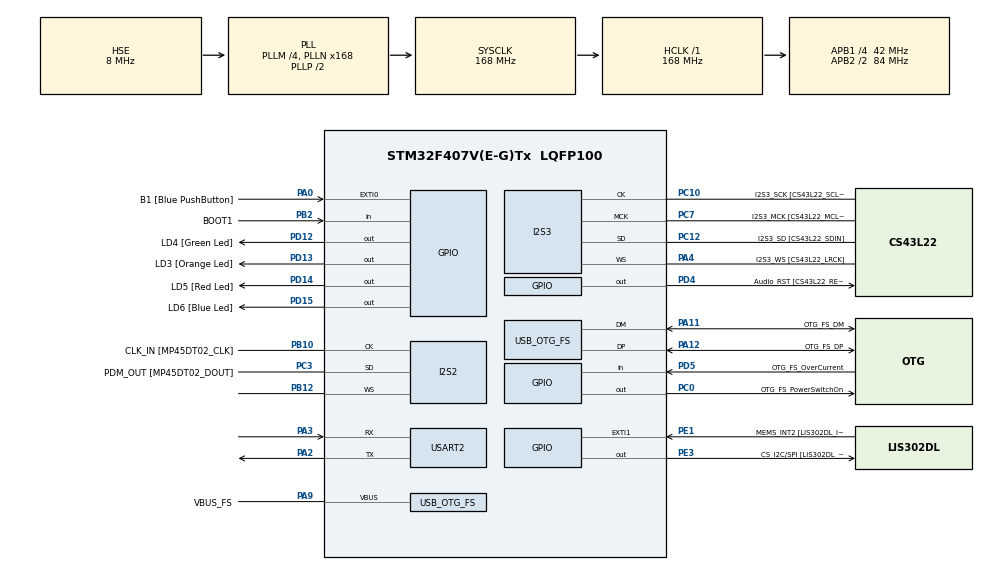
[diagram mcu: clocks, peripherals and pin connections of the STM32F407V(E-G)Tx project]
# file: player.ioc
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FREERTOS.Tasks01=defaultTask,0,128,StartDefaultTask,Default,NULL
I2S2.AudioFreq=I2S_AUDIOFREQ_44K
I2S2.ErrorAudioFreq=0.26 %
I2S2.FullDuplexMode=I2S_FULLDUPLEXMODE_DISABLE
I2S2.Instance=SPI$Index
I2S2.RealAudioFreq=44.117 KHz
I2S2.VirtualMode=I2S_MODE_MASTER
I2S3.AudioFreq=I2S_AUDIOFREQ_44K
I2S3.ErrorAudioFreq=0.26 %
I2S3.FullDuplexMode=I2S_FULLDUPLEXMODE_DISABLE
I2S3.Instance=SPI$Index
I2S3.RealAudioFreq=44.117 KHz
I2S3.VirtualMode=I2S_MODE_MASTER
Mcu.Family=STM32F4
Mcu.Name=STM32F407V(E-G)Tx
Mcu.Package=LQFP100
NVIC.OTG_FS_IRQn=true\:5\:0\:false\:false\:true\:true
NVIC.PriorityGroup=NVIC_PRIORITYGROUP_4
NVIC.TIM8_UP_TIM13_IRQn=true\:0\:0\:false\:false\:true\:false
NVIC.TimeBase=TIM8_UP_TIM13_IRQn
NVIC.TimeBaseIP=TIM13
PA0-WKUP.GPIO_Label=B1 [Blue PushButton]
PA0-WKUP.GPIO_ModeDefaultEXTI=GPIO_MODE_EVT_RISING
PA0-WKUP.GPIO_PuPd=GPIO_NOPULL
PA0-WKUP.Signal=GPXTI0
PA10.GPIO_Label=OTG_FS_ID
PA10.GPIO_Mode=GPIO_MODE_AF_PP
PA10.GPIO_PuPd=GPIO_NOPULL
PA10.GPIO_Speed=GPIO_SPEED_FREQ_LOW
PA10.Signal=USB_OTG_FS_ID
PA11.GPIO_Label=OTG_FS_DM
PA11.GPIO_Mode=GPIO_MODE_AF_PP
PA11.GPIO_PuPd=GPIO_NOPULL
PA11.GPIO_Speed=GPIO_SPEED_FREQ_LOW
PA11.Mode=Host_Only
PA11.Signal=USB_OTG_FS_DM
PA12.GPIO_Label=OTG_FS_DP
PA12.GPIO_Mode=GPIO_MODE_AF_PP
PA12.GPIO_PuPd=GPIO_NOPULL
PA12.GPIO_Speed=GPIO_SPEED_FREQ_LOW
PA12.Mode=Host_Only
PA12.Signal=USB_OTG_FS_DP
PA13.GPIO_Label=SWDIO
PA13.Signal=SYS_JTMS-SWDIO
PA14.GPIO_Label=SWCLK
PA14.Signal=SYS_JTCK-SWCLK
PA2.Mode=Asynchronous
PA2.Signal=USART2_TX
PA3.Mode=Asynchronous
PA3.Signal=USART2_RX
PA4.GPIO_Label=I2S3_WS [CS43L22_LRCK]
PA4.GPIO_Mode=GPIO_MODE_AF_PP
PA4.GPIO_PuPd=GPIO_NOPULL
PA4.GPIO_Speed=GPIO_SPEED_FREQ_LOW
PA4.Mode=Half_Duplex_Master
PA4.Signal=I2S3_WS
PA5.GPIO_Label=SPI1_SCK [LIS302DL_SCL/SPC]
PA5.GPIO_Mode=GPIO_MODE_AF_PP
PA5.GPIO_PuPd=GPIO_NOPULL
PA5.GPIO_Speed=GPIO_SPEED_FREQ_LOW
PA5.Signal=SPI1_SCK
PA6.GPIO_Label=SPI1_MISO [LIS302DL_SDO]
PA6.GPIO_Mode=GPIO_MODE_AF_PP
PA6.GPIO_PuPd=GPIO_NOPULL
PA6.GPIO_Speed=GPIO_SPEED_FREQ_LOW
PA6.Signal=SPI1_MISO
PA7.GPIO_Label=SPI1_MOSI [LIS302DL_SDA/SDI/SDO]
PA7.GPIO_Mode=GPIO_MODE_AF_PP
PA7.GPIO_PuPd=GPIO_NOPULL
PA7.GPIO_Speed=GPIO_SPEED_FREQ_LOW
PA7.Signal=SPI1_MOSI
PA9.GPIO_Label=VBUS_FS
PA9.GPIO_Mode=GPIO_MODE_INPUT
PA9.GPIO_PuPd=GPIO_NOPULL
PA9.Mode=Activate_VBUS
PA9.Signal=USB_OTG_FS_VBUS
PB10.GPIO_Label=CLK_IN [MP45DT02_CLK]
PB10.GPIO_Mode=GPIO_MODE_AF_PP
PB10.GPIO_PuPd=GPIO_NOPULL
PB10.GPIO_Speed=GPIO_SPEED_FREQ_LOW
PB10.Mode=Half_Duplex_Master
PB10.Signal=I2S2_CK
PB12.Mode=Half_Duplex_Master
PB12.Signal=I2S2_WS
PB2.GPIO_Label=BOOT1
PB2.GPIO_Mode=GPIO_MODE_INPUT
PB2.GPIO_PuPd=GPIO_NOPULL
PB2.Signal=GPIO_Input
PB3.GPIO_Label=SWO
PB3.Signal=SYS_JTDO-SWO
PB6.GPIO_Label=Audio_SCL [CS43L22_SCL]
PB6.GPIO_Mode=GPIO_MODE_AF_OD
PB6.GPIO_PuPd=GPIO_NOPULL
PB6.GPIO_Speed=GPIO_SPEED_FREQ_LOW
PB6.Signal=I2C1_SCL
PB9.GPIO_Label=Audio_SDA [CS43L22_SDA]
PB9.GPIO_Mode=GPIO_MODE_AF_OD
PB9.GPIO_PuPd=GPIO_NOPULL
PB9.GPIO_Speed=GPIO_SPEED_FREQ_LOW
PB9.Signal=I2C1_SDA
PC0.GPIO_Label=OTG_FS_PowerSwitchOn
PC0.GPIO_PuPd=GPIO_NOPULL
PC0.GPIO_Speed=GPIO_SPEED_FREQ_LOW
PC0.PinState=GPIO_PIN_SET
PC0.Signal=GPIO_Output
PC10.GPIO_Label=I2S3_SCK [CS43L22_SCLK]
PC10.GPIO_Mode=GPIO_MODE_AF_PP
PC10.GPIO_PuPd=GPIO_NOPULL
PC10.GPIO_Speed=GPIO_SPEED_FREQ_LOW
PC10.Mode=Half_Duplex_Master
PC10.Signal=I2S3_CK
PC12.GPIO_Label=I2S3_SD [CS43L22_SDIN]
PC12.GPIO_Mode=GPIO_MODE_AF_PP
PC12.GPIO_PuPd=GPIO_NOPULL
PC12.GPIO_Speed=GPIO_SPEED_FREQ_LOW
PC12.Mode=Half_Duplex_Master
PC12.Signal=I2S3_SD
PC14-OSC32_IN.GPIO_Label=PC14-OSC32_IN
PC14-OSC32_IN.Signal=RCC_OSC32_IN
PC15-OSC32_OUT.GPIO_Label=PC15-OSC32_OUT
PC15-OSC32_OUT.Signal=RCC_OSC32_OUT
PC3.GPIO_Label=PDM_OUT [MP45DT02_DOUT]
PC3.GPIO_Mode=GPIO_MODE_AF_PP
PC3.GPIO_PuPd=GPIO_NOPULL
PC3.GPIO_Speed=GPIO_SPEED_FREQ_LOW
PC3.Mode=Half_Duplex_Master
PC3.Signal=I2S2_SD
PC7.GPIO_Label=I2S3_MCK [CS43L22_MCLK]
PC7.GPIO_Mode=GPIO_MODE_AF_PP
PC7.GPIO_PuPd=GPIO_NOPULL
PC7.GPIO_Speed=GPIO_SPEED_FREQ_LOW
PC7.Mode=Master_Clock_Activated
PC7.Signal=I2S3_MCK
PD12.GPIO_Label=LD4 [Green Led]
PD12.GPIO_PuPd=GPIO_NOPULL
PD12.GPIO_Speed=GPIO_SPEED_FREQ_LOW
PD12.Signal=GPIO_Output
PD13.GPIO_Label=LD3 [Orange Led]
PD13.GPIO_PuPd=GPIO_NOPULL
PD13.GPIO_Speed=GPIO_SPEED_FREQ_LOW
PD13.Signal=GPIO_Output
PD14.GPIO_Label=LD5 [Red Led]
PD14.GPIO_PuPd=GPIO_NOPULL
PD14.GPIO_Speed=GPIO_SPEED_FREQ_LOW
PD14.Signal=GPIO_Output
PD15.GPIO_Label=LD6 [Blue Led]
PD15.GPIO_PuPd=GPIO_NOPULL
PD15.GPIO_Speed=GPIO_SPEED_FREQ_LOW
PD15.Signal=GPIO_Output
PD4.GPIO_Label=Audio_RST [CS43L22_RESET]
PD4.GPIO_PuPd=GPIO_NOPULL
PD4.GPIO_Speed=GPIO_SPEED_FREQ_LOW
PD4.Signal=GPIO_Output
PD5.GPIO_Label=OTG_FS_OverCurrent
PD5.GPIO_Mode=GPIO_MODE_INPUT
PD5.GPIO_PuPd=GPIO_NOPULL
PD5.Signal=GPIO_Input
PE1.GPIO_Label=MEMS_INT2 [LIS302DL_INT2]
PE1.GPIO_ModeDefaultEXTI=GPIO_MODE_EVT_RISING
PE1.GPIO_PuPd=GPIO_NOPULL
PE1.Signal=GPXTI1
PE3.GPIO_Label=CS_I2C/SPI [LIS302DL_CS_I2C/SPI]
PE3.GPIO_PuPd=GPIO_NOPULL
PE3.GPIO_Speed=GPIO_SPEED_FREQ_LOW
PE3.Signal=GPIO_Output
PH0-OSC_IN.GPIO_Label=PH0-OSC_IN
PH0-OSC_IN.Mode=HSE-External-Oscillator
PH0-OSC_IN.Signal=RCC_OSC_IN
PH1-OSC_OUT.GPIO_Label=PH1-OSC_OUT
PH1-OSC_OUT.Mode=HSE-External-Oscillator
PH1-OSC_OUT.Signal=RCC_OSC_OUT
ProjectManager.HeapSize=0x200
ProjectManager.StackSize=0x400
ProjectManager.TargetToolchain=Makefile
RCC.48MHZClocksFreq_Value=48000000
RCC.AHBFreq_Value=168000000
RCC.APB1CLKDivider=RCC_HCLK_DIV4
RCC.APB1Freq_Value=42000000
RCC.APB1TimFreq_Value=84000000
RCC.APB2CLKDivider=RCC_HCLK_DIV2
RCC.APB2Freq_Value=84000000
RCC.APB2TimFreq_Value=168000000
RCC.CortexFreq_Value=168000000
RCC.HCLKFreq_Value=168000000
RCC.HSE_VALUE=8000000
RCC.HSI_VALUE=16000000
RCC.LSE_VALUE=32768
RCC.PLLM=4
RCC.PLLN=168
RCC.PLLQ=7
RCC.SYSCLKFreq_VALUE=168000000
RCC.SYSCLKSource=RCC_SYSCLKSOURCE_PLLCLK
RCC.VCOOutputFreq_Value=336000000
USART2.VirtualMode=VM_ASYNC
USB_HOST.USBH_HandleTypeDef-MSC_FS=hUsbHostFS
USB_HOST.VirtualModeFS=Msc
USB_OTG_FS.VirtualMode=Host_Only
USB_OTG_FS.phy_itface=HCD_PHY_EMBEDDED
VP_FATFS_VS_USB.Mode=USB
VP_FREERTOS_VS_ENABLE.Mode=Enabled
VP_SYS_VS_tim13.Mode=TIM13
VP_USB_HOST_VS_USB_HOST_MSC_FS.Mode=MSC_FS
board=STM32F4DISCOVERY

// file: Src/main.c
/**
  ******************************************************************************
  * File Name          : main.c
  * Description        : Main program body
  ******************************************************************************
  * This notice applies to any and all portions of this file
  * that are not between comment pairs USER CODE BEGIN and
  * USER CODE END. Other portions of this file, whether
  * inserted by the user or by software development tools
  * are owned by their respective copyright owners.
  *
  * Copyright (c) 2017 STMicroelectronics International N.V.
  * All rights reserved.
  *
  * Redistribution and use in source and binary forms, with or without
  * modification, are permitted, provided that the following conditions are met:
  *
  * 1. Redistribution of source code must retain the above copyright notice,
  *    this list of conditions and the following disclaimer.
  * 2. Redistributions in binary form must reproduce the above copyright notice,
  *    this list of conditions and the following disclaimer in the documentation
  *    and/or other materials provided with the distribution.
  * 3. Neither the name of STMicroelectronics nor the names of other
  *    contributors to this software may be used to endorse or promote products
  *    derived from this software without specific written permission.
  * 4. This software, including modifications and/or derivative works of this
  *    software, must execute solely and exclusively on microcontroller or
  *    microprocessor devices manufactured by or for STMicroelectronics.
  * 5. Redistribution and use of this software other than as permitted under
  *    this license is void and will automatically terminate your rights under
  *    this license.
  *
  * THIS SOFTWARE IS PROVIDED BY STMICROELECTRONICS AND CONTRIBUTORS "AS IS"
  * AND ANY EXPRESS, IMPLIED OR STATUTORY WARRANTIES, INCLUDING, BUT NOT
  * LIMITED TO, THE IMPLIED WARRANTIES OF MERCHANTABILITY, FITNESS FOR A
  * PARTICULAR PURPOSE AND NON-INFRINGEMENT OF THIRD PARTY INTELLECTUAL PROPERTY
  * RIGHTS ARE DISCLAIMED TO THE FULLEST EXTENT PERMITTED BY LAW. IN NO EVENT
  * SHALL STMICROELECTRONICS OR CONTRIBUTORS BE LIABLE FOR ANY DIRECT, INDIRECT,
  * INCIDENTAL, SPECIAL, EXEMPLARY, OR CONSEQUENTIAL DAMAGES (INCLUDING, BUT NOT
  * LIMITED TO, PROCUREMENT OF SUBSTITUTE GOODS OR SERVICES; LOSS OF USE, DATA,
  * OR PROFITS; OR BUSINESS INTERRUPTION) HOWEVER CAUSED AND ON ANY THEORY OF
  * LIABILITY, WHETHER IN CONTRACT, STRICT LIABILITY, OR TORT (INCLUDING
  * NEGLIGENCE OR OTHERWISE) ARISING IN ANY WAY OUT OF THE USE OF THIS SOFTWARE,
  * EVEN IF ADVISED OF THE POSSIBILITY OF SUCH DAMAGE.
  *
  ******************************************************************************
  */
#include "main.h"
#include "stm32f4xx_hal.h"
#include "cmsis_os.h"
#include "fatfs.h"
#include "usb_host.h"
#include "waveplayer.c"

/* USER CODE BEGIN Includes */
extern ApplicationTypeDef Appli_state;
/* USER CODE END Includes */

I2S_HandleTypeDef hi2s2;
I2S_HandleTypeDef hi2s3;

UART_HandleTypeDef huart2;

osThreadId defaultTaskHandle;

/* USER CODE BEGIN PV */
/* Private variables ---------------------------------------------------------*/

/* USER CODE END PV */

void SystemClock_Config(void);
static void MX_GPIO_Init(void);
static void MX_USART2_UART_Init(void);
static void MX_I2S2_Init(void);
static void MX_I2S3_Init(void);
void StartDefaultTask(void const * argument);

static void print_chr(char chr);
ssize_t _write_r(struct _reent* r, int fd, const void* ptr, size_t len);

/* USER CODE BEGIN PFP */
/* Private function prototypes -----------------------------------------------*/

/* USER CODE END PFP */

int main(void)
{

  /* MCU Configuration----------------------------------------------------------*/

  /* Reset of all peripherals, Initializes the Flash interface and the Systick. */

  HAL_Init();

  /* Configure the system clock */
  SystemClock_Config();

  /* Initialize all configured peripherals */
  MX_GPIO_Init();
  MX_USART2_UART_Init();
  MX_I2S2_Init();
  MX_I2S3_Init();

  /* Create the thread(s) */
  /* definition and creation of defaultTask */
  osThreadDef(defaultTask, StartDefaultTask, osPriorityNormal, 0, 1024);
  defaultTaskHandle = osThreadCreate(osThread(defaultTask), NULL);

  /* Start scheduler */
  osKernelStart();

  /* We should never get here as control is now taken by the scheduler */

  /* Infinite loop */
  while (1)
  {

  }
}

/* needed to use println() to debug */
static void print_chr(char chr)
{
    HAL_UART_Transmit(&huart2,
    (uint8_t*)&chr, 1, 1000);
}

/* needed to use println() to debug */
ssize_t _write_r(struct _reent* r, int fd, const void *ptr, size_t len)
{
    int cntr = len;
    char* pTemp = (char*)ptr;
    while(cntr--)
        print_chr(*pTemp++);
    return len;
}

/** System Clock Configuration
*/
void SystemClock_Config(void)
{
  RCC_OscInitTypeDef RCC_OscInitStruct;
  RCC_ClkInitTypeDef RCC_ClkInitStruct;
  RCC_PeriphCLKInitTypeDef PeriphClkInitStruct;

  /**Configure the main internal regulator output voltage
  */
  __HAL_RCC_PWR_CLK_ENABLE();

  __HAL_PWR_VOLTAGESCALING_CONFIG(PWR_REGULATOR_VOLTAGE_SCALE1);

  /**Initializes the CPU, AHB and APB busses clocks
  */
  RCC_OscInitStruct.OscillatorType = RCC_OSCILLATORTYPE_HSE;
  RCC_OscInitStruct.HSEState = RCC_HSE_ON;
  RCC_OscInitStruct.PLL.PLLState = RCC_PLL_ON;
  RCC_OscInitStruct.PLL.PLLSource = RCC_PLLSOURCE_HSE;
  RCC_OscInitStruct.PLL.PLLM = 4;
  RCC_OscInitStruct.PLL.PLLN = 168;
  RCC_OscInitStruct.PLL.PLLP = RCC_PLLP_DIV2;
  RCC_OscInitStruct.PLL.PLLQ = 7;

  if(HAL_RCC_OscConfig(&RCC_OscInitStruct) != HAL_OK)
  {
    _Error_Handler(__FILE__, __LINE__);
  }

  /**Initializes the CPU, AHB and APB busses clocks
  */
  RCC_ClkInitStruct.ClockType = RCC_CLOCKTYPE_HCLK|RCC_CLOCKTYPE_SYSCLK
                              |RCC_CLOCKTYPE_PCLK1|RCC_CLOCKTYPE_PCLK2;
  RCC_ClkInitStruct.SYSCLKSource = RCC_SYSCLKSOURCE_PLLCLK;
  RCC_ClkInitStruct.AHBCLKDivider = RCC_SYSCLK_DIV1;
  RCC_ClkInitStruct.APB1CLKDivider = RCC_HCLK_DIV4;
  RCC_ClkInitStruct.APB2CLKDivider = RCC_HCLK_DIV2;

  if(HAL_RCC_ClockConfig(&RCC_ClkInitStruct, FLASH_LATENCY_5) != HAL_OK)
  {
    _Error_Handler(__FILE__, __LINE__);
  }

  PeriphClkInitStruct.PeriphClockSelection = RCC_PERIPHCLK_I2S;
  PeriphClkInitStruct.PLLI2S.PLLI2SN = 192;
  PeriphClkInitStruct.PLLI2S.PLLI2SR = 2;
  if(HAL_RCCEx_PeriphCLKConfig(&PeriphClkInitStruct) != HAL_OK)
  {
    _Error_Handler(__FILE__, __LINE__);
  }

  /**Configure the Systick interrupt time
  */
  HAL_SYSTICK_Config(HAL_RCC_GetHCLKFreq()/1000);

  /**Configure the Systick
  */
  HAL_SYSTICK_CLKSourceConfig(SYSTICK_CLKSOURCE_HCLK);

  /* SysTick_IRQn interrupt configuration */
  HAL_NVIC_SetPriority(SysTick_IRQn, 15, 0);
}

/* I2S2 init function */
static void MX_I2S2_Init(void)
{
  hi2s2.Instance = SPI2;
  hi2s2.Init.Mode = I2S_MODE_MASTER_TX;
  hi2s2.Init.Standard = I2S_STANDARD_PHILIPS;
  hi2s2.Init.DataFormat = I2S_DATAFORMAT_16B;
  hi2s2.Init.MCLKOutput = I2S_MCLKOUTPUT_DISABLE;
  hi2s2.Init.AudioFreq = I2S_AUDIOFREQ_44K;
  hi2s2.Init.CPOL = I2S_CPOL_LOW;
  hi2s2.Init.ClockSource = I2S_CLOCK_PLL;
  hi2s2.Init.FullDuplexMode = I2S_FULLDUPLEXMODE_DISABLE;
  if (HAL_I2S_Init(&hi2s2) != HAL_OK)
  {
    _Error_Handler(__FILE__, __LINE__);
  }
}

/* I2S3 init function */
static void MX_I2S3_Init(void)
{
  hi2s3.Instance = SPI3;
  hi2s3.Init.Mode = I2S_MODE_MASTER_TX;
  hi2s3.Init.Standard = I2S_STANDARD_PHILIPS;
  hi2s3.Init.DataFormat = I2S_DATAFORMAT_16B;
  hi2s3.Init.MCLKOutput = I2S_MCLKOUTPUT_ENABLE;
  hi2s3.Init.AudioFreq = I2S_AUDIOFREQ_44K;
  hi2s3.Init.CPOL = I2S_CPOL_LOW;
  hi2s3.Init.ClockSource = I2S_CLOCK_PLL;
  hi2s3.Init.FullDuplexMode = I2S_FULLDUPLEXMODE_DISABLE;
  if (HAL_I2S_Init(&hi2s3) != HAL_OK)
  {
    _Error_Handler(__FILE__, __LINE__);
  }

}

/* USART2 init function */
static void MX_USART2_UART_Init(void)
{
  huart2.Instance = USART2;
  huart2.Init.BaudRate = 115200;
  huart2.Init.WordLength = UART_WORDLENGTH_8B;
  huart2.Init.StopBits = UART_STOPBITS_1;
  huart2.Init.Parity = UART_PARITY_NONE;
  huart2.Init.Mode = UART_MODE_TX_RX;
  huart2.Init.HwFlowCtl = UART_HWCONTROL_NONE;
  huart2.Init.OverSampling = UART_OVERSAMPLING_16;
  if (HAL_UART_Init(&huart2) != HAL_OK)
  {
    _Error_Handler(__FILE__, __LINE__);
  }

}

/** Configure pins as
        * Analog
        * Input
        * Output
        * EVENT_OUT
        * EXTI
     PA5   ------> SPI1_SCK
     PA6   ------> SPI1_MISO
     PA7   ------> SPI1_MOSI
     PB6   ------> I2C1_SCL
     PB9   ------> I2C1_SDA
*/
static void MX_GPIO_Init(void)
{
  GPIO_InitTypeDef GPIO_InitStruct;

  /* GPIO Ports Clock Enable */
  __HAL_RCC_GPIOE_CLK_ENABLE();
  __HAL_RCC_GPIOC_CLK_ENABLE();
  __HAL_RCC_GPIOH_CLK_ENABLE();
  __HAL_RCC_GPIOA_CLK_ENABLE();
  __HAL_RCC_GPIOB_CLK_ENABLE();
  __HAL_RCC_GPIOD_CLK_ENABLE();

  /*Configure GPIO pin Output Level */
  HAL_GPIO_WritePin(CS_I2C_SPI_GPIO_Port, CS_I2C_SPI_Pin, GPIO_PIN_RESET);

  /*Configure GPIO pin Output Level */
  HAL_GPIO_WritePin(OTG_FS_PowerSwitchOn_GPIO_Port, OTG_FS_PowerSwitchOn_Pin, GPIO_PIN_RESET);

  /*Configure GPIO pin Output Level */
  HAL_GPIO_WritePin(GPIOD, LD4_Pin|LD3_Pin|LD5_Pin|LD6_Pin
                          |Audio_RST_Pin, GPIO_PIN_RESET);

  /*Configure GPIO pin : CS_I2C_SPI_Pin */
  GPIO_InitStruct.Pin = CS_I2C_SPI_Pin;
  GPIO_InitStruct.Mode = GPIO_MODE_OUTPUT_PP;
  GPIO_InitStruct.Pull = GPIO_NOPULL;
  GPIO_InitStruct.Speed = GPIO_SPEED_FREQ_LOW;
  HAL_GPIO_Init(CS_I2C_SPI_GPIO_Port, &GPIO_InitStruct);

  /*Configure GPIO pin : OTG_FS_PowerSwitchOn_Pin */
  GPIO_InitStruct.Pin = OTG_FS_PowerSwitchOn_Pin;
  GPIO_InitStruct.Mode = GPIO_MODE_OUTPUT_PP;
  GPIO_InitStruct.Pull = GPIO_NOPULL;
  GPIO_InitStruct.Speed = GPIO_SPEED_FREQ_LOW;
  HAL_GPIO_Init(OTG_FS_PowerSwitchOn_GPIO_Port, &GPIO_InitStruct);

  /*Configure GPIO pin : B1_Pin */
  GPIO_InitStruct.Pin = B1_Pin;
  GPIO_InitStruct.Mode = GPIO_MODE_EVT_RISING;
  GPIO_InitStruct.Pull = GPIO_NOPULL;
  HAL_GPIO_Init(B1_GPIO_Port, &GPIO_InitStruct);

  /*Configure GPIO pins : SPI1_SCK_Pin SPI1_MISO_Pin SPI1_MOSI_Pin */
  GPIO_InitStruct.Pin = SPI1_SCK_Pin|SPI1_MISO_Pin|SPI1_MOSI_Pin;
  GPIO_InitStruct.Mode = GPIO_MODE_AF_PP;
  GPIO_InitStruct.Pull = GPIO_NOPULL;
  GPIO_InitStruct.Speed = GPIO_SPEED_FREQ_LOW;
  GPIO_InitStruct.Alternate = GPIO_AF5_SPI1;
  HAL_GPIO_Init(GPIOA, &GPIO_InitStruct);

  /*Configure GPIO pin : BOOT1_Pin */
  GPIO_InitStruct.Pin = BOOT1_Pin;
  GPIO_InitStruct.Mode = GPIO_MODE_INPUT;
  GPIO_InitStruct.Pull = GPIO_NOPULL;
  HAL_GPIO_Init(BOOT1_GPIO_Port, &GPIO_InitStruct);

  /*Configure GPIO pins : LD4_Pin LD3_Pin LD5_Pin LD6_Pin
                           Audio_RST_Pin */
  GPIO_InitStruct.Pin = LD4_Pin|LD3_Pin|LD5_Pin|LD6_Pin
                          |Audio_RST_Pin;
  GPIO_InitStruct.Mode = GPIO_MODE_OUTPUT_PP;
  GPIO_InitStruct.Pull = GPIO_NOPULL;
  GPIO_InitStruct.Speed = GPIO_SPEED_FREQ_LOW;
  HAL_GPIO_Init(GPIOD, &GPIO_InitStruct);

  /*Configure GPIO pin : OTG_FS_OverCurrent_Pin */
  GPIO_InitStruct.Pin = OTG_FS_OverCurrent_Pin;
  GPIO_InitStruct.Mode = GPIO_MODE_INPUT;
  GPIO_InitStruct.Pull = GPIO_NOPULL;
  HAL_GPIO_Init(OTG_FS_OverCurrent_GPIO_Port, &GPIO_InitStruct);

  /*Configure GPIO pins : Audio_SCL_Pin Audio_SDA_Pin */
  GPIO_InitStruct.Pin = Audio_SCL_Pin|Audio_SDA_Pin;
  GPIO_InitStruct.Mode = GPIO_MODE_AF_OD;
  GPIO_InitStruct.Pull = GPIO_PULLUP;
  GPIO_InitStruct.Speed = GPIO_SPEED_FREQ_LOW;
  GPIO_InitStruct.Alternate = GPIO_AF4_I2C1;
  HAL_GPIO_Init(GPIOB, &GPIO_InitStruct);

  /*Configure GPIO pin : MEMS_INT2_Pin */
  GPIO_InitStruct.Pin = MEMS_INT2_Pin;
  GPIO_InitStruct.Mode = GPIO_MODE_EVT_RISING;
  GPIO_InitStruct.Pull = GPIO_NOPULL;
  HAL_GPIO_Init(MEMS_INT2_GPIO_Port, &GPIO_InitStruct);
}

const char* get_filename_ext(const char* filename)
{
  const char* dot = strrchr(filename, '.');
  if(!dot || dot == filename) return "";
  return dot + 1;
}

/* USER CODE BEGIN 4 */
static FRESULT play_directory(const char* path)
{
  FRESULT res;
  FILINFO fno;
  DIR dir;
  char* fn; /* This function is assuming non-Unicode cfg. */
#if _USE_LFN /* if Long File Name is used */
  static char lfn[_MAX_LFN + 1];
  fno.lfname = lfn;
  fno.lfsize = sizeof(lfn);
#endif
  res = f_opendir(&dir, path); /* Open the directory */
  if(res == FR_OK)
  {
    for(;;)
	{
	  res = f_readdir(&dir, &fno); /* Read a directory item */

	  if(res != FR_OK || fno.fname[0] == 0) /* Break on error or end of dir */
      {
		  printf("Error or end of directory\n");
		  break;
	  }

      if(fno.fname[0] == '.') continue; /* Ignore dot entry */
#if _USE_LFN /* if Long File Name is used */
	  fn = *fno.lfname ? fno.lfname : fno.fname;
#else
	  fn = fno.fname;
#endif
	  if(fno.fattrib & AM_DIR) {} /* It is a directory */
	  else /* It is a file. */
	  {
	    if(strcmp("WAV", get_filename_ext(fn)) == 0) /* Play only if wave file */
		  WavePlayerStart(path, fn);
	  }
	}
  }
  else
  {
	printf("Opening directory failed\n");
  }

  return res;
}
/* USER CODE END 4 */

/* StartDefaultTask function */
void StartDefaultTask(void const* argument)
{
  /* init code for USB_HOST */
  MX_USB_HOST_Init();

  /* init code for FatFs */
  MX_FATFS_Init();

  FATFS fs;
  f_mount(&fs, "", 0); /* register filesystem object to FatFs module */

  printf("in StartDefaultTask\n");

  while(Appli_state != APPLICATION_READY) {} /* wait until pendrive is ready */
  osDelay(2000);

  printf("in StartDefaultTask, pendrive ready\n");

  play_directory("");

  for(;;)
  {
    osDelay(1);
  }
}

void HAL_TIM_PeriodElapsedCallback(TIM_HandleTypeDef* htim)
{
  if(htim->Instance == TIM13)
  {
    HAL_IncTick();
  }
}

void _Error_Handler(char* file, int line)
{
  while(1)
  {
  }
}

/************************ (C) COPYRIGHT STMicroelectronics *****END OF FILE****/
